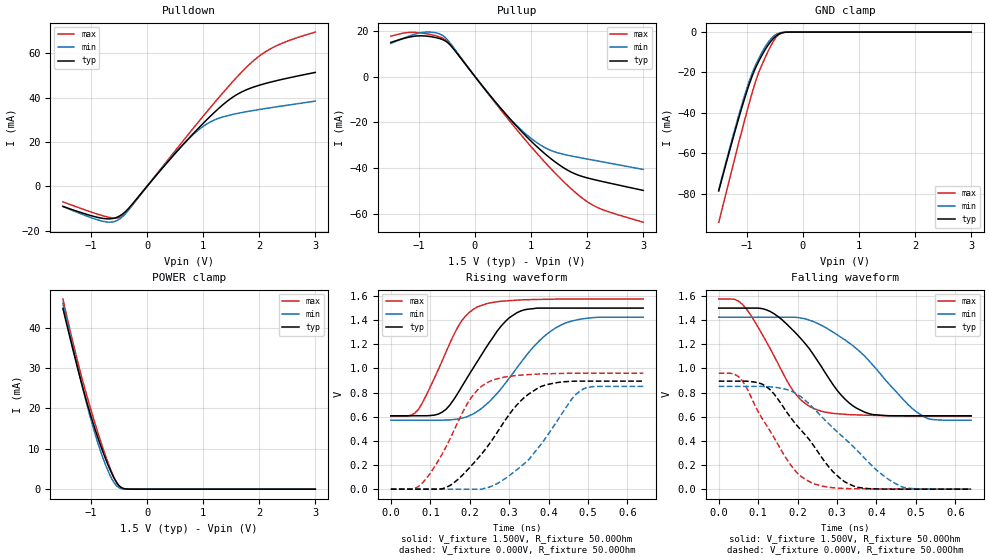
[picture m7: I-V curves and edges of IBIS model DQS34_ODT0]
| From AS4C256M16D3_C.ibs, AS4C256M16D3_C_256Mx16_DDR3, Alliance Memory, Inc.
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|   Model DQS34_ODT0
[Model]   DQS34_ODT0
Model_type   I/O
Enable   Active-High
Vinl = 575.000mV
Vinh = 925.000mV
Vmeas = 750.000mV
Vref = 750.000mV
Cref = 0.0pF
Rref = 25.000Ohm
|   typ   min   max
C_comp   1.28pF   1.22pF   1.43pF
[Model Spec]
| Input threshold voltage corners
Vinl   0.5750V   0.5375V   0.6125V
Vinh   0.9250V   0.8875V   0.9625V
| Measurement voltage corners
Vmeas   0.7500V   0.7125V   0.7875V
| Timing spec test load voltage corners
Vref   0.7500V   0.7125V   0.7875V
|[Receiver Thresholds]
|Vth   =  0.750V
|Vth_min  =  0.735V
|Vth_max  =  0.765V
|Vinh_ac  =  0.175V
|Vinh_dc  =  0.100V
|Vinl_ac  = -0.175V
|Vinl_dc  = -0.100V
|Tslew_ac =  5.000ns
|Threshold_sensitivity = 0.50
|Reference_supply Pullup_ref
|[Receiver Thresholds]
|Vcross_low   = 0.600V
|Vcross_high  = 0.900V
|Vdiff_ac   = 300mV
|Vdiff_dc   = 200mV
|Tdiffslew_ac = 10.000ns
[Temperature Range]   85.00   110.00   0.00
[Voltage Range]   1.500V   1.425V   1.575V
[Pullup Reference]   1.500V   1.425V   1.575V
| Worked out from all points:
|   slope of the pulldown table from 0 to 0.225 V, typ, clamps not added: 33.3 ohm
|   slope of the pullup table from 0 to 0.225 V, typ, clamps not added: 32.6 ohm
|   GND clamp passes 1 mA (typ) near -0.43 V on its own axis
|   POWER clamp passes 1 mA (typ) near -0.51 V on its own axis
|   rising waveform, V_fixture 1.500V, R_fixture 50.00Ohm: 20-80 % time 104ps typ, 130ps min, 84.2ps max; typ from 0.608 V to 1.5 V
|   falling waveform, V_fixture 1.500V, R_fixture 50.00Ohm: 20-80 % time 122ps typ, 156ps min, 99.4ps max; typ from 1.5 V to 0.608 V
|   rising waveform, V_fixture 0.000V, R_fixture 50.00Ohm: 20-80 % time 125ps typ, 122ps min, 94.3ps max; typ from 0 V to 0.895 V
|   falling waveform, V_fixture 0.000V, R_fixture 50.00Ohm: 20-80 % time 124ps typ, 159ps min, 103ps max; typ from 0.895 V to 0 V
[Pulldown]
|   Voltage   I(typ)   I(min)   I(max)
-1.5V     -9.05mA    -9.072mA   -6.987mA
-725mV    -14.65mA   -16.07mA   -13.69mA
-575mV    -14.32mA   -15.84mA   -14.35mA
-425mV    -12.27mA   -13.41mA   -13.08mA
525mV     15.49mA    15.82mA    16.8mA
825mV     23.8mA     23.44mA    26.22mA
1.075V    30.31mA    28.31mA    33.92mA
1.275V    35.12mA    30.69mA    39.93mA
1.575V    41.02mA    32.73mA    48.56mA
2.025V    45.82mA    34.79mA    59.26mA
2.425V    48.38mA    36.34mA    64.77mA
3V        51.43mA    38.51mA    69.63mA
[Pullup]
|   Voltage   I(typ)   I(min)   I(max)
-1.5V     14.85mA    14.36mA    17.55mA
-1.175V   17.14mA    17.6mA     19.19mA
-925mV    17.7mA     19.22mA    18.85mA
-675mV    16.82mA    18.9mA     17.59mA
-525mV    15.45mA    16.88mA    16mA
475mV     -14.24mA   -14.36mA   -14.96mA
825mV     -23.79mA   -23.28mA   -25.49mA
1.125V    -31.01mA   -29.16mA   -34.02mA
1.625V    -40.41mA   -34.13mA   -46.82mA
2.025V    -44.3mA    -36.04mA   -54.89mA
2.325V    -46.02mA   -37.4mA    -58.43mA
3V        -49.61mA   -40.48mA   -63.45mA
[GND Clamp]
|   Voltage   I(typ)   I(min)   I(max)
-1.5V     -78.66mA   -78.09mA   -94.12mA
-1.275V   -55.59mA   -54.4mA    -69.19mA
-1.125V   -40.88mA   -39.43mA   -52.88mA
-1V       -29.48mA   -27.97mA   -39.68mA
-900mV    -21.53mA   -20.13mA   -29.67mA
-800mV    -15.18mA   -13.84mA   -20.99mA
-650mV    -7.694mA   -6.337mA   -11.31mA
-525mV    -3.129mA   -2.128mA   -4.526mA
-425mV    -964.7uA   -481.8uA   -1.156mA
-350mV    -231.3uA   -91.54uA   -238.7uA
-250mV    -15.37uA   -6.172uA   -5.421uA
3V        0A         0A         0A
[POWER Clamp]
|   Voltage   I(typ)   I(min)   I(max)
-1.5V     44.74mA    45.98mA    47.04mA
-1.325V   34.74mA    35.34mA    36.54mA
-1.2V     27.95mA    28.02mA    29.57mA
-1.05V    20.4mA     19.77mA    21.99mA
-900mV    13.72mA    12.46mA    15.05mA
-775mV    8.812mA    7.307mA    9.691mA
-650mV    4.532mA    3.159mA    4.91mA
-550mV    1.825mA    947.5uA    1.813mA
-475mV    579.7uA    228.8uA    417.2uA
-400mV    113.5uA    40.63uA    36.82uA
-275mV    4.573uA    1.85uA     362.3nA
3V        0A         0A         0A
[Ramp]
R_load = 50.00Ohm
|   typ   min   max
dV/dt_r   384.89mV/122.31ps   370.33mV/161.26ps   418.31mV/95.290ps
dV/dt_f   384.89mV/132.24ps   370.33mV/174.02ps   418.31mV/105.40ps
[Rising Waveform]
V_fixture = 1.500V
V_fixture_min = 1.425V
V_fixture_max = 1.575V
R_fixture = 50.00Ohm
|   Time   V(typ)   V(min)   V(max)
0s        608mV      571.5mV    606.1mV
70ps      608mV      571.5mV    660.3mV
130ps     637.7mV    571.5mV    1.061V
180ps     849.6mV    588.3mV    1.396V
220ps     1.061V     645.9mV    1.511V
270ps     1.311V     795.3mV    1.553V
310ps     1.441V     962.1mV    1.564V
420ps     1.5V       1.34V      1.575V
500ps     1.5V       1.417V     1.575V
640ps     1.5V       1.425V     1.575V
[Falling Waveform]
V_fixture = 1.500V
V_fixture_min = 1.425V
V_fixture_max = 1.575V
R_fixture = 50.00Ohm
|   Time   V(typ)   V(min)   V(max)
0s        1.5V       1.425V     1.575V
40ps      1.5V       1.425V     1.573V
70ps      1.5V       1.425V     1.494V
140ps     1.454V     1.425V     1.106V
190ps     1.311V     1.425V     808.3mV
240ps     1.115V     1.389V     670mV
310ps     781mV      1.258V     622.6mV
370ps     638.1mV    1.103V     613.1mV
520ps     608mV      601mV      606.1mV
640ps     608mV      571.5mV    606.1mV
[Rising Waveform]
V_fixture = 0.000V
V_fixture_min = 0.000V
V_fixture_max = 0.000V
R_fixture = 50.00Ohm
|   Time   V(typ)   V(min)   V(max)
0s        33.61uV    5.208uV    2.312uV
80ps      33.61uV    5.208uV    51.44mV
150ps     30.22mV    5.208uV    415.8mV
200ps     179.2mV    5.208uV    741.1mV
250ps     375.1mV    16.58mV    891.6mV
310ps     661.5mV    136.2mV    938.3mV
350ps     788.6mV    244.5mV    949.6mV
400ps     869mV      459mV      956.2mV
480ps     895.1mV    813.5mV    961.1mV
640ps     895.1mV    851.4mV    961.1mV
[Falling Waveform]
V_fixture = 0.000V
V_fixture_min = 0.000V
V_fixture_max = 0.000V
R_fixture = 50.00Ohm
|   Time   V(typ)   V(min)   V(max)
0s        895.1mV    851.4mV    961.1mV
50ps      895.1mV    851.4mV    933.1mV
120ps     851.1mV    849.8mV    535.1mV
190ps     560.4mV    803.6mV    167.6mV
240ps     363.2mV    671.2mV    46.5mV
290ps     143.3mV    506.6mV    11.87mV
330ps     43.12mV    387.6mV    4.607mV
400ps     1.979mV    158.1mV    2.319mV
460ps     33.61uV    24.92mV    1.104mV
640ps     33.61uV    5.208uV    2.312uV
